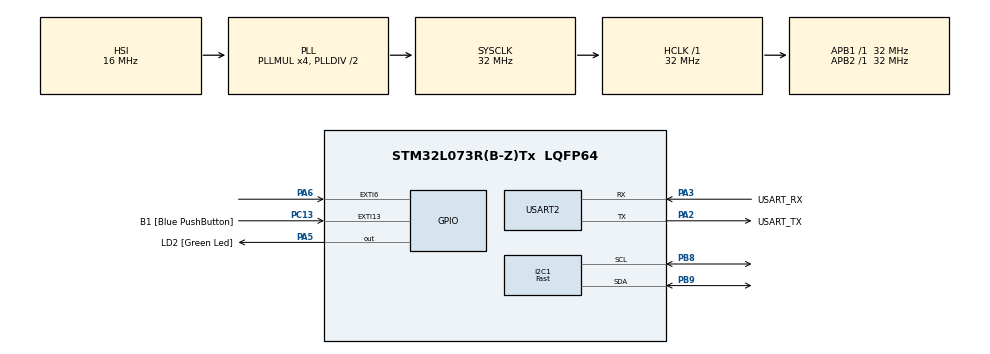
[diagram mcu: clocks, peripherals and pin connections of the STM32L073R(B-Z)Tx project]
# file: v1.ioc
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I2C1.I2C_Speed_Mode=I2C_Fast
I2C1.Timing=0x00300F38
Mcu.Family=STM32L0
Mcu.Name=STM32L073R(B-Z)Tx
Mcu.Package=LQFP64
NVIC.EXTI4_15_IRQn=true\:0\:0\:false\:false\:true\:true\:true\:true
NVIC.TIM6_DAC_IRQn=true\:0\:0\:false\:false\:true\:true\:true\:true
PA13.GPIO_Label=TMS
PA13.Mode=Serial_Wire
PA13.Signal=SYS_SWDIO
PA14.GPIO_Label=TCK
PA14.Mode=Serial_Wire
PA14.Signal=SYS_SWCLK
PA2.GPIO_Label=USART_TX
PA2.Mode=Asynchronous
PA2.Signal=USART2_TX
PA3.GPIO_Label=USART_RX
PA3.Mode=Asynchronous
PA3.Signal=USART2_RX
PA5.GPIO_Label=LD2 [Green Led]
PA5.Signal=GPIO_Output
PA6.GPIO_PuPd=GPIO_PULLDOWN
PA6.Signal=GPXTI6
PB8.Mode=I2C
PB8.Signal=I2C1_SCL
PB9.Mode=I2C
PB9.Signal=I2C1_SDA
PC13.GPIO_Label=B1 [Blue PushButton]
PC13.GPIO_ModeDefaultEXTI=GPIO_MODE_IT_FALLING
PC13.Signal=GPXTI13
PC14-OSC32_IN.Mode=LSE-External-Oscillator
PC14-OSC32_IN.Signal=RCC_OSC32_IN
PC15-OSC32_OUT.Mode=LSE-External-Oscillator
PC15-OSC32_OUT.Signal=RCC_OSC32_OUT
PH0-OSC_IN.GPIO_Label=MCO
PH0-OSC_IN.Mode=HSE-External-Clock-Source
PH0-OSC_IN.Signal=RCC_OSC_IN
ProjectManager.HeapSize=0x200
ProjectManager.StackSize=0x400
ProjectManager.TargetToolchain=MDK-ARM V5.32
RCC.AHBFreq_Value=32000000
RCC.APB1Freq_Value=32000000
RCC.APB1TimFreq_Value=32000000
RCC.APB2Freq_Value=32000000
RCC.APB2TimFreq_Value=32000000
RCC.HCLKFreq_Value=32000000
RCC.HSE_VALUE=8000000
RCC.HSI16_VALUE=16000000
RCC.HSI48_VALUE=48000000
RCC.HSI_VALUE=16000000
RCC.MSI_VALUE=2097000
RCC.PLLMUL=RCC_PLLMUL_4
RCC.SYSCLKFreq_VALUE=32000000
RCC.SYSCLKSource=RCC_SYSCLKSOURCE_PLLCLK
RCC.VCOOutputFreq_Value=64000000
RCC.VDD_VALUE=3.3
TIM6.Prescaler=98
USART2.VirtualMode-Asynchronous=VM_ASYNC
VP_TIM6_VS_ClockSourceINT.Mode=Enable_Timer
board=NUCLEO-L073RZ

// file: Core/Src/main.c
/* USER CODE BEGIN Header */
/**
  ******************************************************************************
  * @file           : main.c
  * @brief          : Main program body
  ******************************************************************************
  * @attention
  *
  * Copyright (c) 2024 STMicroelectronics.
  * All rights reserved.
  *
  * This software is licensed under terms that can be found in the LICENSE file
  * in the root directory of this software component.
  * If no LICENSE file comes with this software, it is provided AS-IS.
  *
  ******************************************************************************
  */
/* USER CODE END Header */
#include "main.h"

/* USER CODE BEGIN Includes */
#include "fonts.h"
#include "ssd1306.h"
#include "test.h"
#include <stdio.h>

/* USER CODE END Includes */

I2C_HandleTypeDef hi2c1;

TIM_HandleTypeDef htim6;

UART_HandleTypeDef huart2;

void SystemClock_Config(void);
static void MX_GPIO_Init(void);
static void MX_TIM6_Init(void);
static void MX_USART2_UART_Init(void);
static void MX_I2C1_Init(void);

/* USER CODE BEGIN 0 */

// Global variables
volatile uint32_t lastTimestamp = 0;
volatile uint32_t timeDifference = 0;
volatile float rpm = 0.0f;
volatile double speed_kmh = 0.0f;
const float radius_m = 0.022f; // Radius in meters
#define NUM_MEASUREMENTS 5

uint32_t rpmArray[NUM_MEASUREMENTS] = {0}; // Array to store last 5 RPM values
uint8_t rpmIndex = 0; // Index to keep track of the current position in the array
float average_speed_kmh = 0; // Variable to store the average speed

// External interrupt callback function
void HAL_GPIO_EXTI_Callback(uint16_t GPIO_Pin)
{
    if (GPIO_Pin == GPIO_PIN_6) // Check if interrupt is from PA_6
    {
        uint32_t currentTimestamp = HAL_GetTick(); // Get current time
        if (lastTimestamp != 0 ) // Check if this is not the first interrupt
        {
            // Calculate time difference
            timeDifference = currentTimestamp - lastTimestamp;

            // Check if time difference is non-zero to prevent division by zero
            if (timeDifference != 0) {
                // Calculate RPM
                rpm = 60000.0f / (float)timeDifference;
                // Calculate speed in km/h
                speed_kmh = rpm * 2 * 3.14159265359 * radius_m * 60 / 1000 * 3.6;

                // Discard measurement if speed exceeds 100 km/h
                if (speed_kmh <= 100.0f) {
                    // Store the RPM value in the array
                    rpmArray[rpmIndex] = rpm;
                    rpmIndex = (rpmIndex + 1) % NUM_MEASUREMENTS; // Increment index and wrap around if necessary

                    // Calculate the average RPM
                    float avgRpm = 0;
                    for (int i = 0; i < NUM_MEASUREMENTS; i++) {
                        avgRpm += rpmArray[i];
                    }
                    avgRpm /= NUM_MEASUREMENTS;

                    // Calculate average speed in km/h based on average RPM
                    average_speed_kmh = avgRpm * 2 * 3.14159265359 * radius_m * 60 / 1000 * 3.6;

                }
            }
        }
        lastTimestamp = currentTimestamp; // Update last timestamp
    }
}

volatile uint32_t lastOLEDUpdate = 0;

// Timer interrupt callback function
void HAL_TIM_PeriodElapsedCallback(TIM_HandleTypeDef *htim)
{
    if (htim->Instance == TIM6) // Check if the interrupt is from TIM2
    {
        uint32_t currentTimestamp = HAL_GetTick(); // Get current time
        if (currentTimestamp - lastOLEDUpdate >= 1000) // Check if 1 second has elapsed
        {
            // Update OLED display
            char speed_string[200];
            snprintf(speed_string, sizeof(speed_string), "%.2f", average_speed_kmh);
            SSD1306_GotoXY (0,0);
            SSD1306_Puts (speed_string, &Font_11x18, 1);
            SSD1306_GotoXY (0,30);
            SSD1306_Puts ("km/h", &Font_11x18, 1);
            SSD1306_UpdateScreen(); // Display

            // Update last OLED update time
            lastOLEDUpdate = currentTimestamp;
        }
    }
}

/* USER CODE END 0 */

int main(void)
{

  /* MCU Configuration--------------------------------------------------------*/

  /* Reset of all peripherals, Initializes the Flash interface and the Systick. */
  HAL_Init();

  /* Configure the system clock */
  SystemClock_Config();

  /* Initialize all configured peripherals */
  MX_GPIO_Init();
  MX_TIM6_Init();
  MX_USART2_UART_Init();
  MX_I2C1_Init();
  /* USER CODE BEGIN 2 */

	SSD1306_Init();  // initialise
	SSD1306_Fill(SSD1306_COLOR_BLACK);
	HAL_TIM_PeriodElapsedCallback(&htim6);
	HAL_TIM_Base_Start_IT(&htim6);

  /// lets print some string
/*	char speed_string[200];
	snprintf(speed_string, sizeof(speed_string), "%.2f", speed_kmh);
		SSD1306_GotoXY (0,0);
		SSD1306_Puts (speed_string, &Font_11x18, 1);
    SSD1306_GotoXY (0,30);
    SSD1306_Puts ("km/h", &Font_11x18, 1);
    SSD1306_UpdateScreen(); //display*/

  /* USER CODE END 2 */

  /* Infinite loop */
  while (1)
  {

  }
}

void SystemClock_Config(void)
{
  RCC_OscInitTypeDef RCC_OscInitStruct = {0};
  RCC_ClkInitTypeDef RCC_ClkInitStruct = {0};
  RCC_PeriphCLKInitTypeDef PeriphClkInit = {0};

  /** Configure the main internal regulator output voltage
  */
  __HAL_PWR_VOLTAGESCALING_CONFIG(PWR_REGULATOR_VOLTAGE_SCALE1);

  /** Initializes the RCC Oscillators according to the specified parameters
  * in the RCC_OscInitTypeDef structure.
  */
  RCC_OscInitStruct.OscillatorType = RCC_OSCILLATORTYPE_HSI;
  RCC_OscInitStruct.HSIState = RCC_HSI_ON;
  RCC_OscInitStruct.HSICalibrationValue = RCC_HSICALIBRATION_DEFAULT;
  RCC_OscInitStruct.PLL.PLLState = RCC_PLL_ON;
  RCC_OscInitStruct.PLL.PLLSource = RCC_PLLSOURCE_HSI;
  RCC_OscInitStruct.PLL.PLLMUL = RCC_PLLMUL_4;
  RCC_OscInitStruct.PLL.PLLDIV = RCC_PLLDIV_2;
  if (HAL_RCC_OscConfig(&RCC_OscInitStruct) != HAL_OK)
  {
    Error_Handler();
  }

  /** Initializes the CPU, AHB and APB buses clocks
  */
  RCC_ClkInitStruct.ClockType = RCC_CLOCKTYPE_HCLK|RCC_CLOCKTYPE_SYSCLK
                              |RCC_CLOCKTYPE_PCLK1|RCC_CLOCKTYPE_PCLK2;
  RCC_ClkInitStruct.SYSCLKSource = RCC_SYSCLKSOURCE_PLLCLK;
  RCC_ClkInitStruct.AHBCLKDivider = RCC_SYSCLK_DIV1;
  RCC_ClkInitStruct.APB1CLKDivider = RCC_HCLK_DIV1;
  RCC_ClkInitStruct.APB2CLKDivider = RCC_HCLK_DIV1;

  if (HAL_RCC_ClockConfig(&RCC_ClkInitStruct, FLASH_LATENCY_1) != HAL_OK)
  {
    Error_Handler();
  }
  PeriphClkInit.PeriphClockSelection = RCC_PERIPHCLK_USART2|RCC_PERIPHCLK_I2C1;
  PeriphClkInit.Usart2ClockSelection = RCC_USART2CLKSOURCE_PCLK1;
  PeriphClkInit.I2c1ClockSelection = RCC_I2C1CLKSOURCE_PCLK1;
  if (HAL_RCCEx_PeriphCLKConfig(&PeriphClkInit) != HAL_OK)
  {
    Error_Handler();
  }
}

static void MX_I2C1_Init(void)
{

  hi2c1.Instance = I2C1;
  hi2c1.Init.Timing = 0x00300F38;
  hi2c1.Init.OwnAddress1 = 0;
  hi2c1.Init.AddressingMode = I2C_ADDRESSINGMODE_7BIT;
  hi2c1.Init.DualAddressMode = I2C_DUALADDRESS_DISABLE;
  hi2c1.Init.OwnAddress2 = 0;
  hi2c1.Init.OwnAddress2Masks = I2C_OA2_NOMASK;
  hi2c1.Init.GeneralCallMode = I2C_GENERALCALL_DISABLE;
  hi2c1.Init.NoStretchMode = I2C_NOSTRETCH_DISABLE;
  if (HAL_I2C_Init(&hi2c1) != HAL_OK)
  {
    Error_Handler();
  }

  /** Configure Analogue filter
  */
  if (HAL_I2CEx_ConfigAnalogFilter(&hi2c1, I2C_ANALOGFILTER_ENABLE) != HAL_OK)
  {
    Error_Handler();
  }

  /** Configure Digital filter
  */
  if (HAL_I2CEx_ConfigDigitalFilter(&hi2c1, 0) != HAL_OK)
  {
    Error_Handler();
  }

}

static void MX_TIM6_Init(void)
{

  TIM_MasterConfigTypeDef sMasterConfig = {0};

  htim6.Instance = TIM6;
  htim6.Init.Prescaler = 98;
  htim6.Init.CounterMode = TIM_COUNTERMODE_UP;
  htim6.Init.Period = 65535;
  htim6.Init.AutoReloadPreload = TIM_AUTORELOAD_PRELOAD_DISABLE;
  if (HAL_TIM_Base_Init(&htim6) != HAL_OK)
  {
    Error_Handler();
  }
  sMasterConfig.MasterOutputTrigger = TIM_TRGO_RESET;
  sMasterConfig.MasterSlaveMode = TIM_MASTERSLAVEMODE_DISABLE;
  if (HAL_TIMEx_MasterConfigSynchronization(&htim6, &sMasterConfig) != HAL_OK)
  {
    Error_Handler();
  }

}

static void MX_USART2_UART_Init(void)
{

  huart2.Instance = USART2;
  huart2.Init.BaudRate = 115200;
  huart2.Init.WordLength = UART_WORDLENGTH_8B;
  huart2.Init.StopBits = UART_STOPBITS_1;
  huart2.Init.Parity = UART_PARITY_NONE;
  huart2.Init.Mode = UART_MODE_TX_RX;
  huart2.Init.HwFlowCtl = UART_HWCONTROL_NONE;
  huart2.Init.OverSampling = UART_OVERSAMPLING_16;
  huart2.Init.OneBitSampling = UART_ONE_BIT_SAMPLE_DISABLE;
  huart2.AdvancedInit.AdvFeatureInit = UART_ADVFEATURE_NO_INIT;
  if (HAL_UART_Init(&huart2) != HAL_OK)
  {
    Error_Handler();
  }

}

static void MX_GPIO_Init(void)
{
  GPIO_InitTypeDef GPIO_InitStruct = {0};

  /* GPIO Ports Clock Enable */
  __HAL_RCC_GPIOC_CLK_ENABLE();
  __HAL_RCC_GPIOH_CLK_ENABLE();
  __HAL_RCC_GPIOA_CLK_ENABLE();
  __HAL_RCC_GPIOB_CLK_ENABLE();

  /*Configure GPIO pin Output Level */
  HAL_GPIO_WritePin(LD2_GPIO_Port, LD2_Pin, GPIO_PIN_RESET);

  /*Configure GPIO pin : B1_Pin */
  GPIO_InitStruct.Pin = B1_Pin;
  GPIO_InitStruct.Mode = GPIO_MODE_IT_FALLING;
  GPIO_InitStruct.Pull = GPIO_NOPULL;
  HAL_GPIO_Init(B1_GPIO_Port, &GPIO_InitStruct);

  /*Configure GPIO pin : LD2_Pin */
  GPIO_InitStruct.Pin = LD2_Pin;
  GPIO_InitStruct.Mode = GPIO_MODE_OUTPUT_PP;
  GPIO_InitStruct.Pull = GPIO_NOPULL;
  GPIO_InitStruct.Speed = GPIO_SPEED_FREQ_LOW;
  HAL_GPIO_Init(LD2_GPIO_Port, &GPIO_InitStruct);

  /*Configure GPIO pin : PA6 */
  GPIO_InitStruct.Pin = GPIO_PIN_6;
  GPIO_InitStruct.Mode = GPIO_MODE_IT_RISING;
  GPIO_InitStruct.Pull = GPIO_PULLDOWN;
  HAL_GPIO_Init(GPIOA, &GPIO_InitStruct);

  /* EXTI interrupt init*/
  HAL_NVIC_SetPriority(EXTI4_15_IRQn, 0, 0);
  HAL_NVIC_EnableIRQ(EXTI4_15_IRQn);

}

void Error_Handler(void)
{
  __disable_irq();
  while (1)
  {
  }
}
